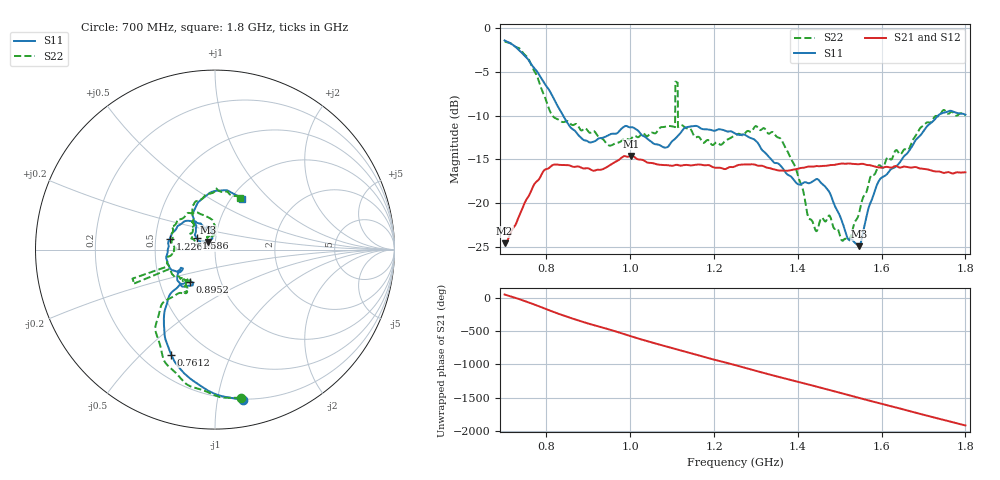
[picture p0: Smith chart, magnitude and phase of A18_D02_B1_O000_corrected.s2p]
! Created with skrf 1.9.0 (http://scikit-rf.org).
# Hz S RI R 50.0
!freq ReS11 ImS11 ReS21 ImS21 ReS12 ImS12 ReS22 ImS22
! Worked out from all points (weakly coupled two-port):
!   1601 points, 700 MHz to 1.8 GHz, reference 50 ohm
!   highest |S21| = -14.63 dB at 1.002 GHz (marker M1); lowest = -24.6 dB at 700 MHz (marker M2)
!   lowest |S11| = -25.0 dB at 1.546 GHz (marker M3), VSWR 1.12, Z = 46.3 + j3.96 ohm
!   |S11| at or under -10 dB: 839.6 MHz to 1.735 GHz (895.2 MHz wide, 69.5 % of centre)
!   |S22| runs from -24.4 to -1.5 dB; largest |S21 - S12| = 0.0035
!   S11 on the Smith chart (normalised r, x): 700 MHz: 0.20, -1.19; 761.2 MHz: 0.32, -0.62; 895.2 MHz: 0.71, -0.27; 1.226 GHz: 0.59, +0.08; 1.586 GHz: 0.81, +0.11; 1.8 GHz: 1.12, +0.70
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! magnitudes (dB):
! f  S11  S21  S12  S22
! 700 MHz  -1.4  -24.6  -24.4  -1.5
! 761.2 MHz  -4.0  -18.9  -18.8  -3.9
! 814.8 MHz  -7.8  -15.7  -15.7  -10.1
! 883.6 MHz  -12.6  -16.0  -15.9  -11.7
! 895.2 MHz  -12.9  -16.0  -16.1  -11.6
! 950.2 MHz  -12.2  -15.7  -15.7  -13.4
! 1.002 GHz  -11.3  -14.6  -14.7  -12.6
! 1.067 GHz  -13.3  -15.6  -15.6  -11.6
! 1.101 GHz  -12.9  -15.8  -15.7  -11.3
! 1.113 GHz  -12.3  -15.6  -15.7  -6.2
! 1.119 GHz  -12.0  -15.7  -15.6  -11.1
! 1.226 GHz  -11.7  -16.1  -16.1  -12.9
! 1.25 GHz  -12.1  -15.8  -15.8  -12.3
! 1.359 GHz  -15.7  -16.3  -16.3  -12.6
! 1.434 GHz  -17.6  -15.9  -15.8  -22.0
! 1.473 GHz  -18.6  -15.7  -15.7  -21.5
! 1.52 GHz  -24.2  -15.5  -15.5  -24.4
! 1.546 GHz  -25.0  -15.6  -15.5  -21.2
! 1.586 GHz  -18.3  -15.9  -15.9  -16.5
! 1.617 GHz  -16.4  -15.9  -15.9  -14.8
! 1.737 GHz  -9.9  -16.4  -16.5  -10.1
! 1.8 GHz  -9.9  -16.5  -16.5  -10.0
